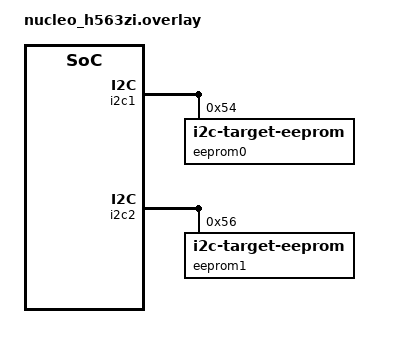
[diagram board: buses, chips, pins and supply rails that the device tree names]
/* SPDX-License-Identifier: Apache-2.0 */

/* Connect SDA pins (D68 and D14) and SCL pins (D69 to D15) */
&i2c1 {
	eeprom0: eeprom@54 {
		compatible = "zephyr,i2c-target-eeprom";
		reg = <0x54>;
		size = <1024>;
	};
};

&i2c2 {
	eeprom1: eeprom@56 {
		compatible = "zephyr,i2c-target-eeprom";
		reg = <0x56>;
		size = <1024>;
	};
};
